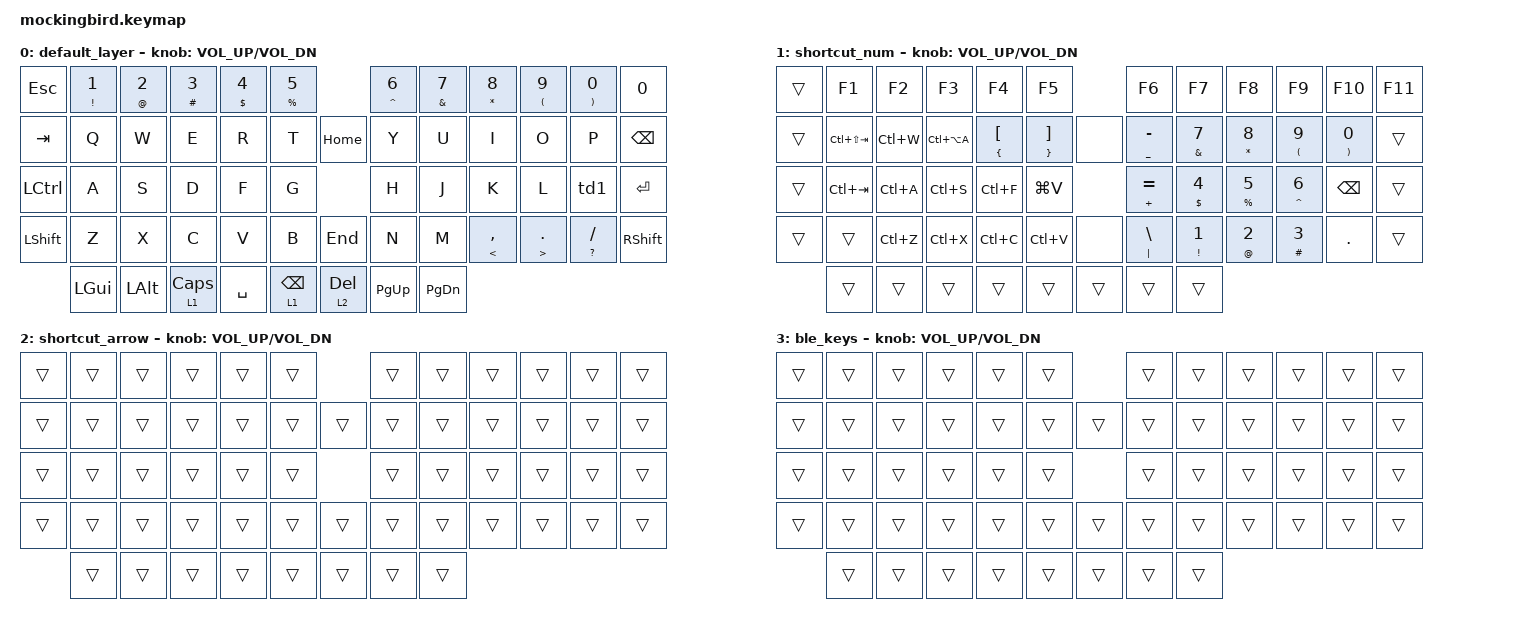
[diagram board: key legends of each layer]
/*
 * Copyright (c) 2020 The ZMK Contributors
 *
 * SPDX-License-Identifier: MIT
 */

#include <behaviors.dtsi>
#include <dt-bindings/zmk/keys.h>
#include <dt-bindings/zmk/bt.h>


/ {
    combos {
        compatible = "zmk,combos";

        ENT {
            bindings = <&kp ENTER>;
            key-positions = <19 20>;
            timeout-ms = <50>;
        };

        BACKSP {
            bindings = <&kp BACKSPACE>;
            key-positions = <7 8>;
        };

        DELT {
            bindings = <&kp DELETE>;
            key-positions = <8 9>;
        };
    };

    behaviors {

        hm: homerow_mods {
            compatible = "zmk,behavior-hold-tap";
            label = "HOMEROW_MODS";
            #binding-cells = <2>;
            tapping-term-ms = <200>;
            quick_tap_ms = <0>;
            flavor = "tap-preferred";
            bindings = <&kp>, <&kp>;

            quick-tap-ms = <0>;
            global-quick-tap;
        };

        ltq: ltq {
            compatible = "zmk,behavior-hold-tap";
            label = "LTQ";
            #binding-cells = <2>;
            tapping-term-ms = <200>;
            quick_tap_ms = <0>;
            flavor = "tap-preferred";
            bindings = <&mo>, <&kp>;

            quick-tap-ms = <0>;
            global-quick-tap;
        };

        as: auto_shift {
            compatible = "zmk,behavior-hold-tap";
            label = "AUTO_SHIFT";
            bindings = <&kp>, <&kp>;

            #binding-cells = <2>;
            tapping-term-ms = <150>;
            quick-tap-ms = <0>;
            flavor = "tap-preferred";
        };

        td1: tap_dance_semi_quo {
            compatible = "zmk,behavior-tap-dance";
            label = "semi_quo";
            #binding-cells = <0>;
            bindings = <&as COLON SEMICOLON>, <&as DOUBLE_QUOTES SQT>;
        };

    };
};

/ {
    keymap {
        compatible = "zmk,keymap";

        default_layer {
            bindings = <
    &kp ESC         &as EXCLAMATION N1   &as AT_SIGN N2  &as HASH N3  &as DOLLAR N4  &as PERCENT N5            &as CARET N6  &as AMPERSAND N7  &as ASTERISK N8      &as LEFT_PARENTHESIS N9  &as RIGHT_PARENTHESIS N0  &kp N0
    &kp TAB         &kp Q                &kp W           &kp E        &kp R          &kp T           &kp HOME  &kp Y         &kp U             &kp I                &kp O                    &kp P                     &kp BSPC
    &kp LCTRL       &kp A                &kp S           &kp D        &kp F          &kp G                     &kp H         &kp J             &kp K                &kp L                    &td1                      &kp ENTER
    &kp LEFT_SHIFT  &kp Z                &kp X           &kp C        &kp V          &kp B           &kp END   &kp N         &kp M             &as LESS_THAN COMMA  &as GREATER_THAN PERIOD  &as QUESTION SLASH        &kp RIGHT_SHIFT
               &kp LEFT_GUI  &kp LEFT_ALT  &ltq 1 CAPSLOCK  &kp SPACE      &ltq 1 BSPC  &ltq 2 DEL  &kp PAGE_UP  &kp PAGE_DOWN
            >;
            sensor-bindings = <&inc_dec_kp C_VOL_UP C_VOL_DN>;
        };
        shortcut_num {
            bindings = <
    &trans  &kp F1           &kp F2     &kp F3         &kp F4                       &kp F5                                &kp F6                &kp F7               &kp F8                &kp F9                   &kp F10                   &kp F11
    &trans  &kp LC(LS(TAB))  &kp LC(W)  &kp LC(LA(A))  &as LEFT_BRACE LEFT_BRACKET  &as RIGHT_BRACE RIGHT_BRACKET  &none  &as UNDERSCORE MINUS  &as AMPERSAND N7     &as ASTERISK N8       &as LEFT_PARENTHESIS N9  &as RIGHT_PARENTHESIS N0  &trans
    &trans  &kp LC(TAB)      &kp LC(A)  &kp LC(S)      &kp LC(F)                    &kp LG(V)                             &as PLUS EQUAL        &as DOLLAR NUMBER_4  &as PERCENT N5        &as CARET N6             &kp BSPC                  &trans
    &trans  &trans           &kp LC(Z)  &kp LC(X)      &kp LC(C)                    &kp LC(V)                      &none  &as PIPE BACKSLASH    &as EXCLAMATION N1   &as AT_SIGN NUMBER_2  &as HASH NUMBER_3        &kp DOT                   &trans
                             &trans  &trans  &trans  &trans          &trans  &trans  &trans  &trans
            >;
            sensor-bindings = <&inc_dec_kp C_VOL_UP C_VOL_DN>;
        };

        shortcut_arrow {
            bindings = <
    &trans  &trans  &trans  &trans  &trans  &trans          &trans  &trans  &trans  &trans  &trans  &trans
    &trans  &trans  &trans  &trans  &trans  &trans  &trans  &trans  &trans  &trans  &trans  &trans  &trans
    &trans  &trans  &trans  &trans  &trans  &trans          &trans  &trans  &trans  &trans  &trans  &trans
    &trans  &trans  &trans  &trans  &trans  &trans  &trans  &trans  &trans  &trans  &trans  &trans  &trans
                    &trans  &trans  &trans  &trans          &trans  &trans  &trans  &trans
            >;
            sensor-bindings = <&inc_dec_kp C_VOL_UP C_VOL_DN>;
        };

        ble_keys {
            bindings = <
    &trans  &trans  &trans  &trans  &trans  &trans          &trans  &trans  &trans  &trans  &trans  &trans
    &trans  &trans  &trans  &trans  &trans  &trans  &trans  &trans  &trans  &trans  &trans  &trans  &trans
    &trans  &trans  &trans  &trans  &trans  &trans          &trans  &trans  &trans  &trans  &trans  &trans
    &trans  &trans  &trans  &trans  &trans  &trans  &trans  &trans  &trans  &trans  &trans  &trans  &trans
                    &trans  &trans  &trans  &trans          &trans  &trans  &trans  &trans
            >;
            sensor-bindings = <&inc_dec_kp C_VOL_UP C_VOL_DN>;
        };
    };
};
